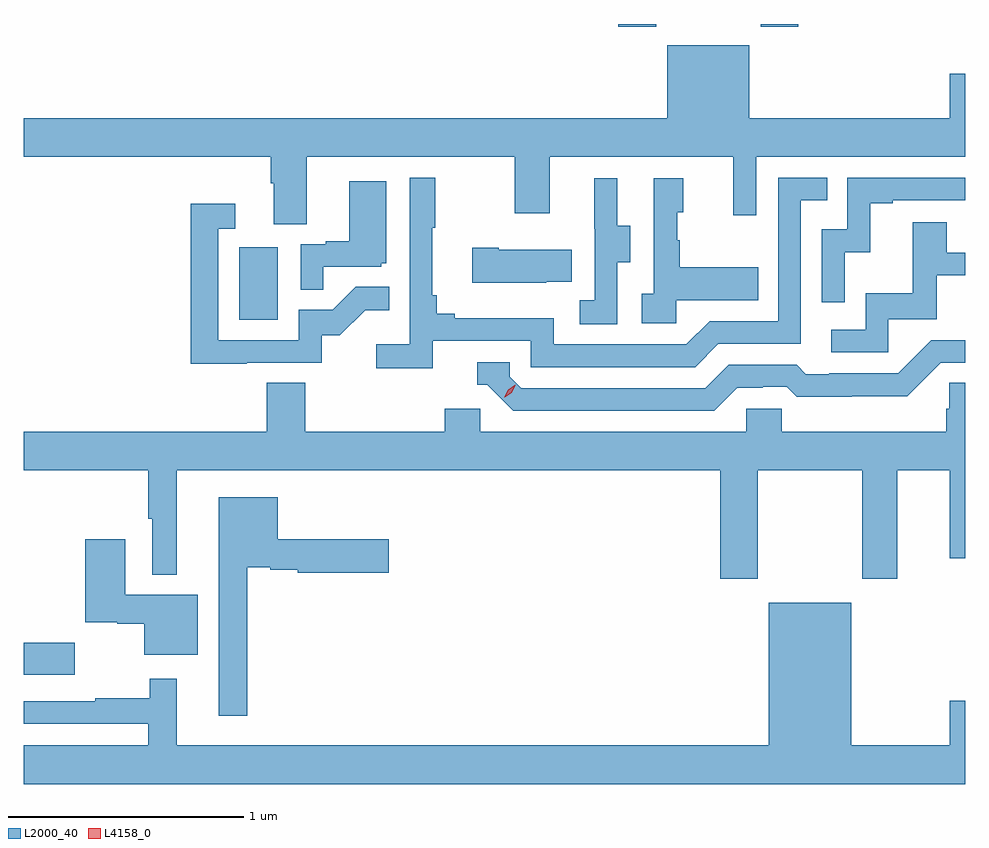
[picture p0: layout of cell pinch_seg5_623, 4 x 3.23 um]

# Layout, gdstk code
import gdstk
lib = gdstk.Library(unit=1e-6, precision=1e-09)
def R(c, l, rs):  # rectangles x0, y0, x1, y1
    for r in rs: c.add(gdstk.rectangle(r[:2], r[2:], *l))
def P(c, l, *ps):  # polygons
    for p in ps: c.add(gdstk.Polygon(p, *l))
L2000_40 = (2000, 40)
L4158_0 = (4158, 0)

pinch_seg5_623 = lib.new_cell('pinch_seg5_623')
R(pinch_seg5_623, L2000_40, [(1060.175,865.217,1060.393,865.352), (1061.09,866.724,1061.254,867.031), (1062.701,867.969,1062.861,867.98), (1063.306,867.969,1063.466,867.98)])
P(pinch_seg5_623, L2000_40, [(1061.377,867.416),(1062.262,867.416),(1062.262,867.177),(1062.409,867.177),(1062.409,867.416),(1063.19,867.416),(1063.19,867.168),(1063.287,867.168),(1063.287,867.416),(1064.175,867.416),(1064.175,867.769),(1064.108,867.769),(1064.108,867.58),(1063.258,867.58),(1063.258,867.889),(1062.908,867.889),(1062.908,867.58),(1060.175,867.58),(1060.175,867.416),(1061.225,867.416),(1061.225,867.304),(1061.237,867.304),(1061.237,867.13),(1061.377,867.13)],
  [(1061.912,866.634),(1062.33,866.634),(1062.33,866.523),(1063.027,866.523),(1063.126,866.622),(1063.476,866.622),(1063.476,867.231),(1063.589,867.231),(1063.589,867.327),(1063.38,867.327),(1063.38,866.718),(1063.089,866.718),(1062.99,866.619),(1062.426,866.619),(1062.426,866.731),(1062.007,866.731),(1062.007,866.75),(1061.93,866.75),(1061.93,866.827),(1061.911,866.827),(1061.911,867.115),(1061.923,867.115),(1061.923,867.328),(1061.814,867.328),(1061.814,866.62),(1061.673,866.62),(1061.673,866.518),(1061.912,866.518)],
  [(1063.662,867.011),(1063.772,867.011),(1063.772,867.219),(1063.867,867.219),(1063.867,867.231),(1064.175,867.231),(1064.175,867.327),(1063.674,867.327),(1063.674,867.108),(1063.566,867.108),(1063.566,866.799),(1063.662,866.799)],
  [(1062.948,866.807),(1063.295,866.807),(1063.295,866.947),(1062.961,866.947),(1062.961,867.062),(1062.951,867.062),(1062.951,867.18),(1062.976,867.18),(1062.976,867.325),(1062.852,867.325),(1062.852,866.834),(1062.801,866.834),(1062.801,866.709),(1062.948,866.709)],
  [(1062.696,866.968),(1062.751,866.968),(1062.751,867.123),(1062.697,867.123),(1062.697,867.325),(1062.599,867.325),(1062.599,867.111),(1062.6,867.111),(1062.6,866.807),(1062.537,866.807),(1062.537,866.704),(1062.696,866.704)],
  [(1061.447,866.949),(1061.694,866.949),(1061.694,866.964),(1061.716,866.964),(1061.716,867.313),(1061.558,867.313),(1061.558,867.058),(1061.459,867.058),(1061.459,867.045),(1061.352,867.045),(1061.352,866.851),(1061.447,866.851)],
  [(1061.123,866.541),(1061.442,866.541),(1061.442,866.658),(1061.518,866.658),(1061.625,866.765),(1061.729,866.765),(1061.729,866.864),(1061.585,866.864),(1061.487,866.766),(1061.343,866.766),(1061.343,866.637),(1061.001,866.637),(1061.001,867.111),(1061.074,867.111),(1061.074,867.217),(1060.885,867.217),(1060.885,866.536),(1061.123,866.536)],
  [(1063.848,866.727),(1064.053,866.727),(1064.053,866.913),(1064.175,866.913),(1064.175,867.009),(1064.095,867.009),(1064.095,867.139),(1063.951,867.139),(1063.951,866.836),(1063.752,866.836),(1063.752,866.682),(1063.605,866.682),(1063.605,866.586),(1063.848,866.586)],
  [(1062.395,866.885),(1062.503,866.885),(1062.503,867.022),(1062.193,867.022),(1062.193,867.03),(1062.081,867.03),(1062.081,866.882),(1062.395,866.882)],
  [(1063.207,866.436),(1063.314,866.436),(1063.314,866.439),(1063.417,866.439),(1063.459,866.397),(1063.692,866.397),(1063.692,866.399),(1063.928,866.399),(1064.07,866.541),(1064.175,866.541),(1064.175,866.637),(1064.031,866.637),(1063.89,866.496),(1063.597,866.496),(1063.597,866.493),(1063.498,866.493),(1063.459,866.532),(1063.17,866.532),(1063.071,866.433),(1062.288,866.433),(1062.24,866.481),(1062.24,866.544),(1062.101,866.544),(1062.101,866.448),(1062.144,866.448),(1062.255,866.337),(1063.108,866.337)],
  [(1063.293,866.084),(1063.738,866.084),(1063.738,865.623),(1063.885,865.623),(1063.885,866.084),(1064.108,866.084),(1064.108,865.71),(1064.175,865.71),(1064.175,866.456),(1064.107,866.456),(1064.107,866.346),(1064.093,866.346),(1064.093,866.248),(1063.395,866.248),(1063.395,866.346),(1063.245,866.346),(1063.245,866.248),(1062.114,866.248),(1062.114,866.346),(1061.963,866.346),(1061.963,866.248),(1061.372,866.248),(1061.372,866.456),(1061.207,866.456),(1061.207,866.248),(1060.175,866.248),(1060.175,866.084),(1060.704,866.084),(1060.704,865.879),(1060.721,865.879),(1060.721,865.64),(1060.825,865.64),(1060.825,866.084),(1063.133,866.084),(1063.133,865.623),(1063.293,865.623)],
  [(1061.125,865.673),(1061.222,865.673),(1061.222,865.661),(1061.34,865.661),(1061.34,865.649),(1061.725,865.649),(1061.725,865.791),(1061.254,865.791),(1061.254,865.969),(1061.003,865.969),(1061.003,865.041),(1061.125,865.041)],
  [(1060.915,865.555),(1060.606,865.555),(1060.606,865.792),(1060.436,865.792),(1060.436,865.439),(1060.572,865.439),(1060.572,865.432),(1060.688,865.432),(1060.688,865.301),(1060.915,865.301)],
  [(1064.175,865.105),(1064.108,865.105),(1064.108,864.916),(1063.69,864.916),(1063.69,865.522),(1063.34,865.522),(1063.34,864.916),(1060.825,864.916),(1060.825,865.198),(1060.711,865.198),(1060.711,865.117),(1060.48,865.117),(1060.48,865.104),(1060.175,865.104),(1060.175,865.008),(1060.704,865.008),(1060.704,864.916),(1060.175,864.916),(1060.175,864.752),(1064.175,864.752)])
P(pinch_seg5_623, L4158_0, [(1062.217,866.394),(1062.217,866.394),(1062.234,866.427),(1062.264,866.447),(1062.264,866.447),(1062.264,866.446),(1062.248,866.414),(1062.218,866.394)])

lib.write_gds('pinch_seg5_623.gds')
